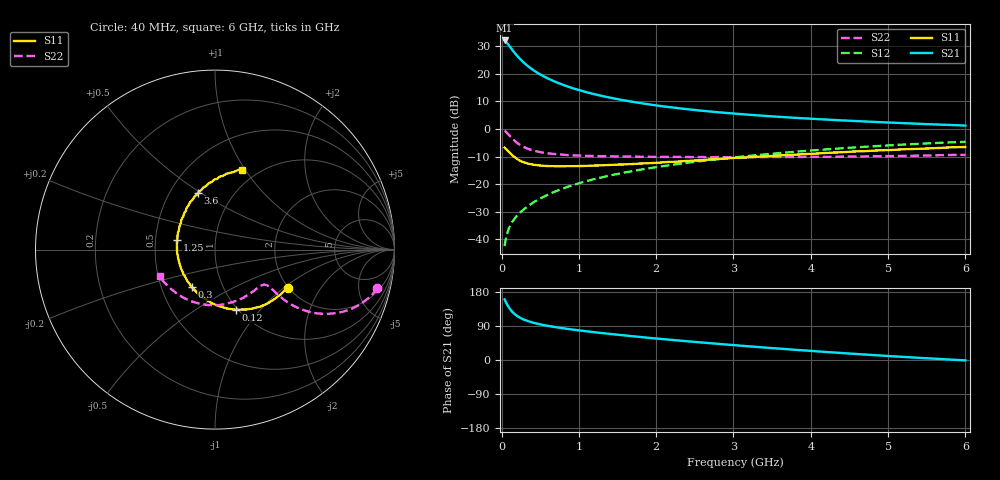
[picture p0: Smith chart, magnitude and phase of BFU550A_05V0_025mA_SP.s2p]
! Filename:  P:\Prog\Test\Noise\ATS_data\Testdata_Net\03 Spar\BFU550A_APG2013_35_C05_05p0V_025mA_SP_CM01_D.s2p
! Date/Time: Tue 16/Apr/2013 15:10:21
! BFU550A_APG2013_35_C05_05p0V_1to35mA_SP_CM01_Bias7_R.s2p
! MDIF S-parameter v. bias file
! BFU550A_APG2013_35_C05_05p0V_1to35mA_SP_CM01
! Date/time Mon Apr 15 15:41:37 2013
! VAR V_out= 5.0000
! VAR I_out= 24.9950
! VAR V_in= 0.8339
! VAR I_in= 0.2732
! Device data file deembeded for feedlines and parallel
! Original file: \03 Spar\BFU550A_APG2013_35_C05_05p0V_025mA_SP_CM01_R.s2p
! Feed-files: PR017V01_150413_Feed1.s2p, PR017V01_150413_Feed2.s2p
! Parallel-file: PR017V01_150413_Par.s2p
# MHz S MA R 50
!  Freq-MHz  S11-mag  S11-arg  S21-mag  S21-arg  S12-mag  S12-arg  S22-mag  S22-arg
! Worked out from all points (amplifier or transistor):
!   98 points, 40 MHz to 6 GHz, reference 50 ohm
!   highest |S21| = 32.1 dB at 40 MHz (marker M1)
!   |S21| within 3 dB of that: start of sweep to 128.8 MHz
!   unconditionally stable (mu >= 1): 869.3 MHz to 1.744 GHz
!   at 300 MHz: K = 0.84, MSG = 26.3 dB, |S12| = -28.9 dB
!   at 1.6 GHz: K = 1.00, MAG = 12.6 dB, |S12| = -15.8 dB
!   at 6 GHz: K = 0.90, MSG = 2.9 dB, |S12| = -4.7 dB
!   S11 on the Smith chart (normalised r, x): 40 MHz: 1.98, -1.06; 120 MHz: 0.98, -0.75; 300 MHz: 0.71, -0.32; 1.25 GHz: 0.65, +0.07; 3.6 GHz: 0.69, +0.49; 6 GHz: 0.85, +0.97
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40  0.4566 -27.6  40.06 160.1  0.007526 81.4  0.9303 -13.4
60  0.4302 -40.2  37.45 151.2  0.01088 77.2  0.8796 -19.2
80  0.405 -51.8  34.83 143.7  0.0138 74.6  0.8236 -23.9
100  0.3786 -61.7  32.01 137.2  0.01634 72.7  0.7673 -27.4
120  0.3544 -71.0  29.45 131.6  0.01866 71.5  0.7154 -30.1
140  0.3343 -78.8  27.04 127.0  0.02079 70.8  0.669 -32.1
160  0.3152 -86.1  24.83 123.0  0.02286 70.3  0.6287 -33.5
200  0.2866 -98.5  21.24 116.5  0.02677 70.3  0.5626 -35.1
240  0.2661 -108.7  18.5 111.5  0.03047 70.8  0.514 -35.8
300  0.2458 -121.3  15.38 105.8  0.03603 71.6  0.4628 -35.9
360  0.2328 -131.2  13.12 101.5  0.04163 72.3  0.4281 -35.6
420  0.2242 -139.5  11.41 97.9  0.04731 73.1  0.4035 -35.1
600  0.2125 -157.9  8.213 90.1  0.06449 74.2  0.3615 -34.3
800  0.2107 -172.1  6.26 83.6  0.08388 74.4  0.3412 -35.1
1050  0.2133 174.4  4.837 77.0  0.1084 73.8  0.3279 -37.3
1250  0.2182 165.6  4.105 72.2  0.1282 72.8  0.3219 -40.0
2050  0.246 139.8  2.61 55.8  0.2078 67.3  0.312 -54.4
3100  0.3015 115.5  1.855 37.7  0.3151 58.2  0.3081 -77.9
3600  0.3313 106.5  1.655 29.9  0.3659 53.3  0.3102 -90.0
4100  0.3593 97.6  1.504 22.6  0.4162 48.1  0.3128 -103.2
5200  0.4278 81.4  1.274 8.2  0.5215 35.9  0.3246 -131.9
6000  0.4707 71.1  1.151 -1.0  0.5843 26.5  0.3401 -154.0
